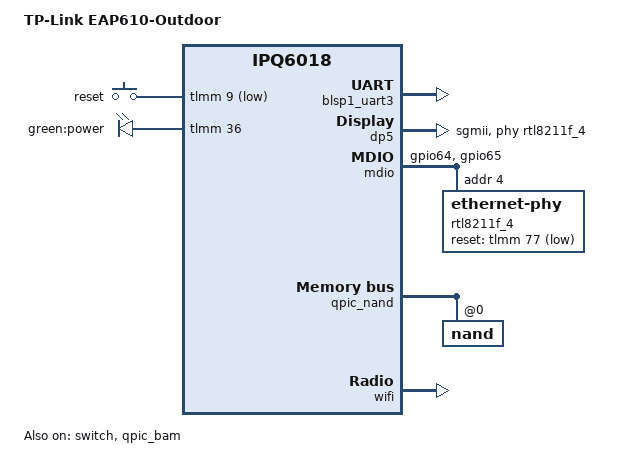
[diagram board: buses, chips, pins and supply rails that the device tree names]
// SPDX-License-Identifier: (GPL-2.0+)

/dts-v1/;

#include "ipq6018.dtsi"
#include "ipq6018-upstreamable.dtsi"
#include "ipq6018-eap610-outdoor-switch.dtsi"

#include <dt-bindings/input/input.h>
#include <dt-bindings/gpio/gpio.h>

/ {
	model = "TP-Link EAP610-Outdoor";
	compatible = "tplink,eap610-outdoor", "qcom,ipq6018";

	aliases {
		serial0 = &blsp1_uart3;
		led-boot = &led_power;
		led-failsafe = &led_power;
		led-running = &led_power;
		led-upgrade = &led_power;
	};

	chosen {
		stdout-path = "serial0:115200n8";
	};

	keys {
		compatible = "gpio-keys";

		reset {
			label = "reset";
			gpios = <&tlmm 9 GPIO_ACTIVE_LOW>;
			linux,code = <KEY_RESTART>;
		};
	};

	leds {
		compatible = "gpio-leds";

		led_power: led-1 {
			label = "green:power";
			gpios = <&tlmm 36 GPIO_ACTIVE_HIGH>;
		};
	};
};

&blsp1_uart3 {
	pinctrl-0 = <&serial_3_pins>;
	pinctrl-names = "default";
	status = "okay";
};

&tlmm {
	mdio_pins: mdio-pins {
		mdc {
			pins = "gpio64";
			function = "mdc";
			drive-strength = <8>;
			bias-pull-up;
		};

		mdio {
			pins = "gpio65";
			function = "mdio";
			drive-strength = <8>;
			bias-pull-up;
		};
	};
};

&soc {
	dp5: dp@5 {
		compatible = "qcom,nss-dp";
		reg = <0x0 0x3a001800 0x0 0x200>;
		qcom,mactype = <0>;
		qcom,id = <5>;

		phy-handle = <&rtl8211f_4>;
		phy-mode = "sgmii";
	};
};

&edma {
	status = "okay";
};

&mdio {
	status = "okay";
	pinctrl-0 = <&mdio_pins>;
	pinctrl-names = "default";
	phy-reset-gpio = <&tlmm 0x4b GPIO_ACTIVE_HIGH>;

	rtl8211f_4: ethernet-phy@4 {
		reg = <4>;
		reset-gpios = <&tlmm 77 GPIO_ACTIVE_LOW>;
	};
};

&switch {
	status = "okay";
};

&qpic_bam {
	status = "okay";
};

&qpic_nand {
	status = "okay";

	nand@0 {
		reg = <0>;

		nand-ecc-strength = <4>;
		nand-ecc-step-size = <512>;
		nand-bus-width = <8>;
	};
};

&wifi {
	status = "okay";
};
